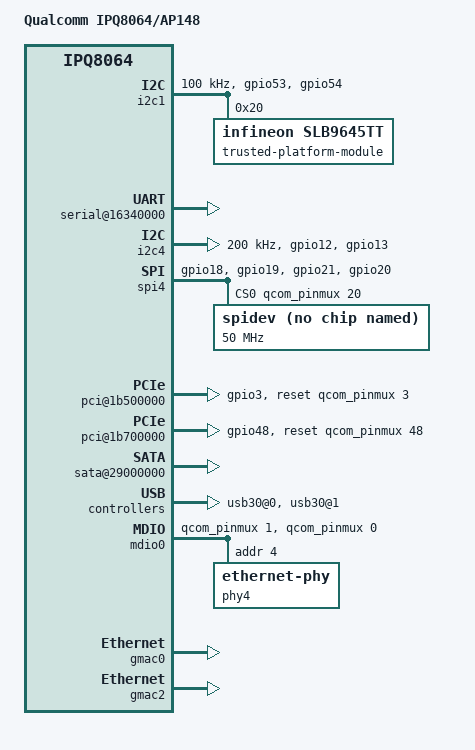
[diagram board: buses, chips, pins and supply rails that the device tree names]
#include "qcom-ipq8064-v1.0.dtsi"

/ {
	model = "Qualcomm IPQ8064/AP148";
	compatible = "google,storm-proto0", "qcom,ipq8064";

	reserved-memory {
		#address-cells = <1>;
		#size-cells = <1>;
		rsvd@41200000 {
			reg = <0x41200000 0x300000>;
			no-map;
		};
	};

	aliases {
		mdio-gpio0 = &mdio0;
	};

	soc {
		pinmux@800000 {
			pinctrl-0 = <&rgmii0_pinmux>;
			pinctrl-names = "default";

			sdcc1_pins: sdcc1_pinmux {
				mux {
					pins = "gpio38", "gpio39", "gpio40",
					       "gpio41", "gpio42", "gpio43",
					       "gpio44", "gpio45", "gpio46",
					       "gpio47";
					function = "sdc1";
				};
				cmd {
					pins = "gpio45";
					drive-strength = <10>;
					bias-pull-up;
				};
				data {
					pins = "gpio38", "gpio39", "gpio40",
					       "gpio41", "gpio43", "gpio44",
					       "gpio46", "gpio47";
					drive-strength = <10>;
					bias-pull-up;
				};
				clk {
					pins = "gpio42";
					drive-strength = <16>;
					bias-pull-down;
				};
			};

			i2c1_pins: i2c1_pinmux {
				pins = "gpio53", "gpio54";
				function = "gsbi1";
				bias-disable;
			};

			i2c4_pins: i2c4_pinmux {
				pins = "gpio12", "gpio13";
				function = "gsbi4";
				bias-disable;
			};

			pcie1_pins: pcie1_pinmux {
				mux {
					pins = "gpio3";
					drive-strength = <2>;
					bias-disable;
				};
			};

			pcie2_pins: pcie2_pinmux {
				mux {
					pins = "gpio48";
					drive-strength = <2>;
					bias-disable;
				};
			};

			pcie3_pins: pcie3_pinmux {
				mux {
					pins = "gpio63";
					drive-strength = <2>;
					bias-disable;
				};
			};

			rgmii0_pinmux: rgmii0_pinmux {
				mux {
					pins = "gpio2", "gpio66";
					drive-strength = <8>;
					bias-disable;
				};
			};

			spi_pins: spi_pins {
				mux {
					pins = "gpio18", "gpio19", "gpio21";
					function = "gsbi5";
					bias-pull-down;
				};
				data {
					pins = "gpio18", "gpio19";
					drive-strength = <10>;
				};
				cs {
					pins = "gpio20";
					drive-strength = <10>;
					bias-pull-up;
				};
				clk {
					pins = "gpio21";
					drive-strength = <12>;
				};
			};
		};

		gsbi1: gsbi@12440000 {
			qcom,mode = <GSBI_PROT_I2C_UART>;
			status = "ok";

			i2c1: i2c@12460000 {
				status = "ok";

				clock-frequency = <100000>;

				pinctrl-0 = <&i2c1_pins>;
				pinctrl-names = "default";

				trusted-platform-module {
					compatible = "infineon,slb9645tt";
					reg = <0x20>;
					powered-while-suspended;
				};
			};
		};

		gsbi@16300000 {
			qcom,mode = <GSBI_PROT_I2C_UART>;
			status = "ok";
			serial@16340000 {
				status = "ok";
			};

			i2c4: i2c@16380000 {
				status = "ok";

				clock-frequency = <200000>;

				pinctrl-0 = <&i2c4_pins>;
				pinctrl-names = "default";
			};
		};

		gsbi5: gsbi@1a200000 {
			qcom,mode = <GSBI_PROT_SPI>;
			status = "ok";

			spi4: spi@1a280000 {
				status = "ok";
				spi-max-frequency = <50000000>;

				pinctrl-0 = <&spi_pins>;
				pinctrl-names = "default";

				cs-gpios = <&qcom_pinmux 20 0>;

				dmas = <&adm_dma 6 9>,
					<&adm_dma 5 10>;
				dma-names = "rx", "tx";

				spidev@0 {
					compatible = "spidev";
					reg = <0>;
					spi-max-frequency = <50000000>;
				};
			};
		};

		pci@1b500000 {
			status = "ok";
			reset-gpio = <&qcom_pinmux 3 0>;
			pinctrl-0 = <&pcie1_pins>;
			pinctrl-names = "default";

			ranges = <0x00000000 0 0x00000000 0x0ff00000 0 0x00100000   /* configuration space */
				  0x81000000 0 0	  0x0fe00000 0 0x00100000   /* downstream I/O */
				  0x82000000 0 0x00000000 0x08000000 0 0x07e00000>; /* non-prefetchable memory */
		};

		pci@1b700000 {
			status = "ok";
			reset-gpio = <&qcom_pinmux 48 0>;
			pinctrl-0 = <&pcie2_pins>;
			pinctrl-names = "default";

			ranges = <0x00000000 0 0x00000000 0x31f00000 0 0x00100000   /* configuration space */
				  0x81000000 0 0	  0x31e00000 0 0x00100000   /* downstream I/O */
				  0x82000000 0 0x00000000 0x2e000000 0 0x03e00000>; /* non-prefetchable memory */

		};

		pci@1b900000 {
			/* TODO(mka): temporarily disable the bus with the aux wlan interface as
			   workaround for chrome-os-partner:32322 */
			status = "disabled";
			reset-gpio = <&qcom_pinmux 63 0>;
			pinctrl-0 = <&pcie3_pins>;
			pinctrl-names = "default";

			ranges = <0x00000000 0 0x00000000 0x35f00000 0 0x00100000   /* configuration space */
				  0x81000000 0 0	  0x35e00000 0 0x00100000   /* downstream I/O */
				  0x82000000 0 0x00000000 0x32000000 0 0x03e00000>; /* non-prefetchable memory */

		};

		sata-phy@1b400000 {
			status = "ok";
		};

		sata@29000000 {
			status = "ok";
		};

		dma@18300000 {
			status = "ok";
		};

		tcsr@1a400000 {
			status = "ok";
			qcom,usb-ctrl-select = <TCSR_USB_SELECT_USB3_DUAL>;
		};

		phy@100f8800 {		/* USB3 port 1 HS phy */
			status = "ok";
		};

		phy@100f8830 {		/* USB3 port 1 SS phy */
			status = "ok";
		};

		phy@110f8800 {		/* USB3 port 0 HS phy */
			status = "ok";
		};

		phy@110f8830 {		/* USB3 port 0 SS phy */
			status = "ok";
		};

		usb30@0 {
			status = "ok";
		};

		usb30@1 {
			status = "ok";
		};

		amba {
			/* eMMC */
			sdcc1: sdcc@12400000 {
				status = "okay";
				pinctrl-0 = <&sdcc1_pins>;
				pinctrl-names = "default";
			};

			/* External micro SD card */
			sdcc3: sdcc@12180000 {
				status = "okay";
			};
		};

		mdio0: mdio {
			compatible = "virtual,mdio-gpio";
			#address-cells = <1>;
			#size-cells = <0>;
			gpios = <&qcom_pinmux 1 0 &qcom_pinmux 0 0>;

			phy4: ethernet-phy@0 {
				device_type = "ethernet-phy";
				reg = <4>;
			};
		};

		nss0: nss@40000000 {
			compatible = "qcom,nss0";
			interrupts = <0 213 0x4>;
			reg = <0x36000000 0x1000 0x39000000 0x20000>;
			reg-names = "nphys", "vphys";
			clocks = <&gcc NSS_CORE_CLK>, <&gcc NSSTCM_CLK_SRC>, <&gcc NSSTCM_CLK>;
			clock-names = "nss_core_clk", "nss_tcm_src", "nss_tcm_clk";
			resets = <&gcc UBI32_CORE1_CLKRST_CLAMP_RESET>,
				 <&gcc UBI32_CORE1_CLAMP_RESET>,
				 <&gcc UBI32_CORE1_AHB_RESET>,
				 <&gcc UBI32_CORE1_AXI_RESET>;
			reset-names = "clkrst_clamp", "clamp", "ahb", "axi";
			qcom,id = <0>;
			qcom,num_irq = <1>;
			qcom,rst_addr = <0x40000000>;
			qcom,load_addr = <0x40000000>;
			qcom,turbo_frequency = <1>;
			qcom,ipv4_enabled = <1>;
			qcom,ipv6_enabled = <1>;
			qcom,l2switch_enabled = <1>;
			qcom,crypto_enabled = <0>;
			qcom,ipsec_enabled = <0>;
			qcom,wlan_enabled = <0>;
			qcom,tun6rd_enabled = <1>;
			qcom,tunipip6_enabled = <1>;
			qcom,shaping_enabled = <1>;
			qcom,gmac0_enabled = <1>;
			qcom,gmac1_enabled = <1>;
			qcom,gmac2_enabled = <1>;
			qcom,gmac3_enabled = <1>;
		};

		nss-gmac-common {
			reg = <0x03000000 0x0000FFFF 0x1bb00000 0x0000FFFF 0x00900000 0x00004000>;
			reg-names = "nss_reg_base" , "qsgmii_reg_base", "clk_ctl_base";
		};

		gmac0: ethernet@37000000 {
			device_type = "network";
			compatible = "qcom,nss-gmac0";
			reg = <0x37000000 0x200000>;
			qcom,id = <0>;			/* gmac0 */
			qcom,phy_mdio_addr = <4>;	/* phy4 */
			qcom,poll_required = <1>;	/* enable polling */
			qcom,rgmii_delay = <0>;
			qcom,phy_mii_type = <0>;	/* RGMII */
			qcom,emulation = <0>;
			qcom,forced_speed = <0>;	/* speed auto */
			qcom,forced_duplex = <255>;	/* duplex auto */
			local-mac-address = [000000000000];
			mdiobus = <&mdio0>;
		};

		gmac2: ethernet@37400000 {
			device_type = "network";
			compatible = "qcom,nss-gmac2";
			reg = <0x37400000 0x200000>;
			qcom,id = <2>;
			qcom,phy_mdio_addr = <32>;	/* none */
			qcom,poll_required = <0>;	/* no polling */
			qcom,rgmii_delay = <0>;
			qcom,phy_mii_type = <1>;	/* SGMII */
			qcom,emulation = <0>;
			qcom,forced_speed = <1000>;	/* Force speed 1G */
			qcom,forced_duplex = <1>;	/* Force duplex FD */
			local-mac-address = [000000000000];
			mdiobus = <&mdio0>;
		};

		switch0: qca8337-lite {
			device-type = "network";
			compatible = "qca8337-lite";
			mdiobus = <&mdio0>;
		};
		watchdog@208a038 {
			compatible = "qcom,kpss-wdt-ipq8064";
			reg = <0x0208a038 0x40>;
			clock-frequency = <32768>;
			timeout-sec = <10>;
		};
	};
};
